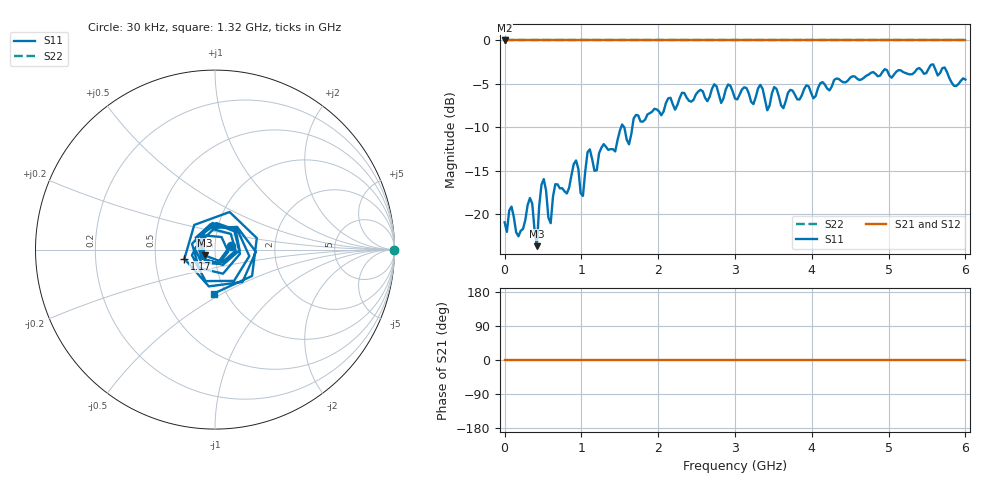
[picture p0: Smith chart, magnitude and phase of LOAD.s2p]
!Keysight Technologies N9916A: A.08.06
!Date: Thursday, 30 May 2024 20:11:26
!Timezone: (GMT+10:00) Brisbane
!Model: N9916A
!Serial: MY53102361
!GPS Latitude:
!GPS Longitude:
!GPS TimeStamp: 0001-01-01 00:00:00Z
!GPS Seconds Since Last Read: 0
!CHECKSUM:1727619499
!Correction: S11(Rdy)S21()S12()S22()
!S2P File: Measurements:S11,S21,S12,S22:
# Hz S RI R 50
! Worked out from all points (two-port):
!   201 points, 30 kHz to 6 GHz, reference 50 ohm
!   highest |S21| = 0.00 dB at 30 kHz (marker M1); lowest = 0.0 dB at 30 kHz (marker M2)
!   |S21| within 3 dB of the highest: start of sweep to end of sweep
!   lowest |S11| = -23.7 dB at 420 MHz (marker M3), VSWR 1.14, Z = 44.5 - j2.91 ohm
!   |S11| at or under -10 dB: start of sweep to 1.516 GHz; 1.558 GHz to 1.663 GHz (104.6 MHz wide, 6.49 % of centre)
!   |S22| runs from 0.0 to 0.0 dB; largest |S21 - S12| = 0
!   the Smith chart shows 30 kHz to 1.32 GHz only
!   S11 on the Smith chart (normalised r, x): 30 kHz: 1.19, +0.05; 1.17 GHz: 0.71, -0.07; 1.32 GHz: 0.88, -0.46
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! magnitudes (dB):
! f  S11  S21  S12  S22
! 30 kHz  -20.9  0.0  0.0  0.0
! 30.03 MHz  -22.0  0.0  0.0  0.0
! 90.03 MHz  -19.1  0.0  0.0  0.0
! 180 MHz  -22.5  0.0  0.0  0.0
! 330 MHz  -18.1  0.0  0.0  0.0
! 420 MHz  -23.7  0.0  0.0  0.0
! 450 MHz  -19.1  0.0  0.0  0.0
! 510 MHz  -15.9  0.0  0.0  0.0
! 600 MHz  -21.0  0.0  0.0  0.0
! 660 MHz  -16.5  0.0  0.0  0.0
! 810 MHz  -17.6  0.0  0.0  0.0
! 930 MHz  -13.8  0.0  0.0  0.0
! 1.02 GHz  -17.9  0.0  0.0  0.0
! 1.08 GHz  -12.8  0.0  0.0  0.0
! 1.17 GHz  -15.0  0.0  0.0  0.0
! 1.32 GHz  -12.2  0.0  0.0  0.0
! 2.01 GHz  -8.1  0.0  0.0  0.0
! 2.73 GHz  -5.0  0.0  0.0  0.0
! 3 GHz  -6.7  0.0  0.0  0.0
! 4.02 GHz  -6.6  0.0  0.0  0.0
! 5.01 GHz  -4.0  0.0  0.0  0.0
! 6 GHz  -4.5  0.0  0.0  0.0
